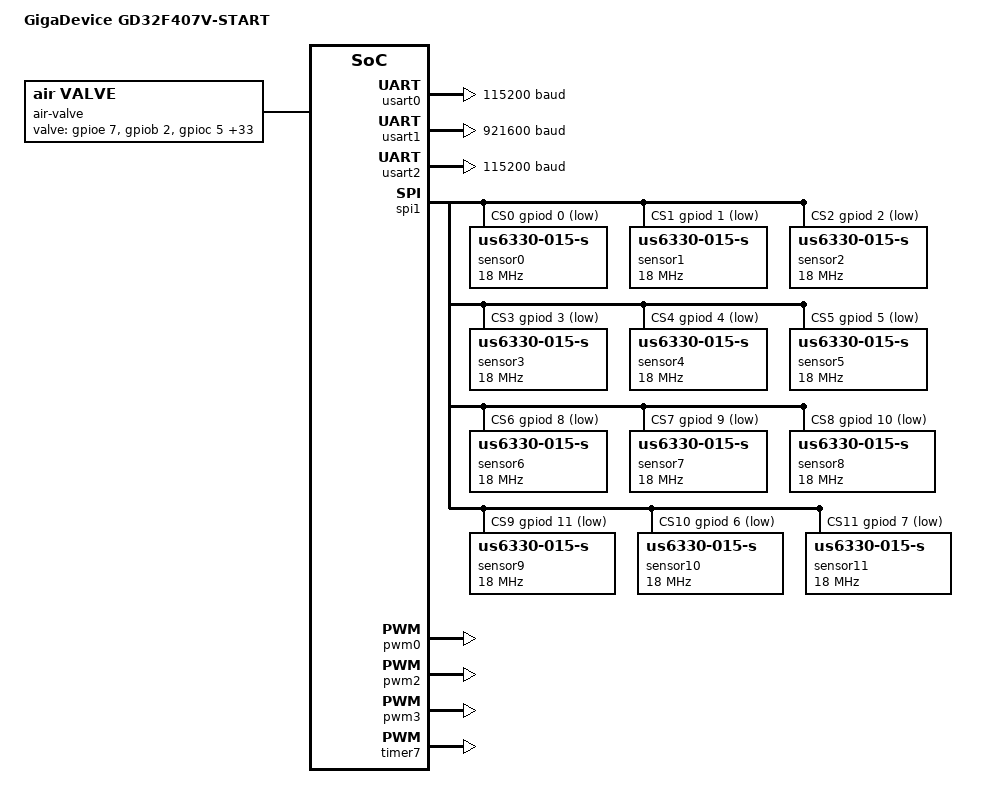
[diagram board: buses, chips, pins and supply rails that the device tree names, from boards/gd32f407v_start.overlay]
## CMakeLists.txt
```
# SPDX-License-Identifier: Apache-2.0

cmake_minimum_required(VERSION 3.20.0)

#set(CMAKE_C_FLAGS "${CMAKE_C_FLAGS} -save-temps=obj")
set(BOARD_ROOT ${CMAKE_CURRENT_LIST_DIR})

find_package(Zephyr REQUIRED HINTS $ENV{ZEPHYR_BASE})
project(pump-control)

target_include_directories(app PRIVATE ${ZEPHYR_BASE}/include/zephyr)

target_include_directories(app PRIVATE src/sensor)
target_include_directories(app PRIVATE src/tach)
target_include_directories(app PRIVATE src/uart_handle)
target_include_directories(app PRIVATE src/shell)
target_include_directories(app PRIVATE src/lib/motor_ctrl)
target_include_directories(app PRIVATE src/lib/pid_ctrl)

FILE(GLOB sensor src/sensor/*.c)
FILE(GLOB tach src/tach/*.c)
FILE(GLOB uart_handle src/uart_handle/*.c)
FILE(GLOB shell src/shell/*.c)
FILE(GLOB lib src/lib/motor_ctrl/*.c src/lib/pid_ctrl/*.c)

target_sources(app PRIVATE ${sensor})
target_sources(app PRIVATE ${tach})
target_sources(app PRIVATE ${uart_handle})
target_sources(app PRIVATE ${shell})
target_sources(app PRIVATE ${lib})
target_sources(app PRIVATE src/main.c)
```

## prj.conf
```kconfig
CONFIG_GPIO=y

CONFIG_PRINTK=y
CONFIG_STDOUT_CONSOLE=y

CONFIG_MAIN_STACK_SIZE=4096

CONFIG_SERIAL=y

CONFIG_SPI=y
CONFIG_SPI_GD32=y

# 支持浮点型打印
CONFIG_CBPRINTF_FP_SUPPORT=y

CONFIG_LOG=y
CONFIG_LOG_MODE_DEFERRED=y
CONFIG_LOG_RUNTIME_FILTERING=y
CONFIG_LOG_BUFFER_SIZE=2048
CONFIG_LOG_PRINTK=y
CONFIG_LOG_PROCESS_TRIGGER_THRESHOLD=0
CONFIG_COVERAGE=n
CONFIG_LOG_TAG_MAX_LEN=8

CONFIG_PWM=y
CONFIG_PWM_GD32=y

CONFIG_PINCTRL=y

CONFIG_SERIAL=y
CONFIG_UART_INTERRUPT_DRIVEN=y

CONFIG_SHELL=y
```

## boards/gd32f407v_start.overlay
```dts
/ {
	model = "GigaDevice GD32F407V-START";
	compatible = "gd,gd32f407v-start";

	chosen {
		zephyr,sram = &sram0;
		zephyr,flash = &flash0;
		zephyr,console = &usart0;
		zephyr,shell-uart = &usart0;
	};
	aliases {
		uart1 = &usart1;
		uart2 = &usart2;
	};
	air-valve {
		compatible = "air,valve";
		valve-gpios = <&gpioe 7  GPIO_ACTIVE_HIGH>,	// valve1
		              <&gpiob 2  GPIO_ACTIVE_HIGH>,	// valve2
					  <&gpioc 5  GPIO_ACTIVE_HIGH>,	
					  <&gpioc 13 GPIO_ACTIVE_HIGH>,
					  <&gpioc 14 GPIO_ACTIVE_HIGH>,
					  <&gpioc 15 GPIO_ACTIVE_HIGH>,
					  <&gpioc 4  GPIO_ACTIVE_HIGH>,	// valve7
					  <&gpioa 5  GPIO_ACTIVE_HIGH>,
					  <&gpioa 4  GPIO_ACTIVE_HIGH>,
					  <&gpioc 0  GPIO_ACTIVE_HIGH>,	// valve10
					  <&gpioc 1  GPIO_ACTIVE_HIGH>,
					  <&gpioc 2  GPIO_ACTIVE_HIGH>,
					  <&gpioe 8  GPIO_ACTIVE_HIGH>,	// valve13
					  <&gpioe 10 GPIO_ACTIVE_HIGH>,
					  <&gpioe 12 GPIO_ACTIVE_HIGH>,
					  <&gpioe 2  GPIO_ACTIVE_HIGH>,	// valve16
					  <&gpioe 3  GPIO_ACTIVE_HIGH>,	
					  <&gpioe 1  GPIO_ACTIVE_HIGH>,
					  <&gpioe 14 GPIO_ACTIVE_HIGH>,
					  <&gpioe 15 GPIO_ACTIVE_HIGH>,	// valve20
					  <&gpiod 15 GPIO_ACTIVE_HIGH>,
					  <&gpioe 0  GPIO_ACTIVE_HIGH>,
					  <&gpiob 5  GPIO_ACTIVE_HIGH>,
					  <&gpioc 12 GPIO_ACTIVE_HIGH>,	// valve24
					  <&gpioe 4  GPIO_ACTIVE_HIGH>,
					  <&gpiod 12 GPIO_ACTIVE_HIGH>,
					  <&gpiod 13 GPIO_ACTIVE_HIGH>,
					  <&gpioc 11 GPIO_ACTIVE_HIGH>,
					  <&gpioc 10 GPIO_ACTIVE_HIGH>,	
					  <&gpioa 12 GPIO_ACTIVE_HIGH>,	// valve30
					  <&gpioe 6  GPIO_ACTIVE_HIGH>,
					  <&gpiod 14 GPIO_ACTIVE_HIGH>,
					  <&gpioe 5  GPIO_ACTIVE_HIGH>,
					  <&gpioa 1  GPIO_ACTIVE_HIGH>,
					  <&gpioa 0  GPIO_ACTIVE_HIGH>,
					  <&gpioc 3  GPIO_ACTIVE_HIGH>;	// valve36
	};
};

&pinctrl {
	usart0_shell: usart0_default {
		group1 {
			pinmux = <USART0_TX_PA9>, <USART0_RX_PA10>;
		};
	};
	usart1_console: usart1_default {
		group1 {
			pinmux = <USART1_TX_PA2>, <USART1_RX_PA3>;
		};
	};
	usart2_tach: usart2_default {
		group1 {
			pinmux = <USART2_TX_PB10>, <USART2_RX_PB11>;
		};
	};
	spi1_default: spi1_default {
		group1 {
			pinmux = <SPI1_MISO_PB14>,
					 <SPI1_MOSI_PB15>,
					 //  <SPI1_NSS_PB12>,
					 <SPI1_SCK_PB13>;
		};
	};
	pwm0_default: pwm0_default {
		group1 {
			pinmux = <TIMER0_CH0_PE9>,
			         <TIMER0_CH1_PE11>,
			         <TIMER0_CH2_PE13>,
			         <TIMER0_CH3_PA11>;
		};
	};
	pwm2_default: pwm2_default {
		group1 {
			pinmux = <TIMER2_CH0_PA6>,
			         <TIMER2_CH1_PA7>,
			         <TIMER2_CH2_PB0>,
			         <TIMER2_CH3_PB1>;
		};
	};
	pwm3_default: pwm3_default {
		group1 {
			pinmux = <TIMER3_CH0_PB6>,
			         <TIMER3_CH1_PB7>,
			         <TIMER3_CH2_PB8>,
			         <TIMER3_CH3_PB9>;
		};
	};
	pwm7_default: pwm7_default {
		group1 {
			pinmux = <TIMER7_CH0_PC6>,    // fan1
			<TIMER7_CH1_PC7>,    // fan2
			<TIMER7_CH2_PC8>;     // servo
		};
	};

};
&usart0 {
	status = "okay";
	current-speed = <115200>;
	pinctrl-0 = <&usart0_shell>;
	pinctrl-names = "default";
};

&usart1 {
	status = "okay";
	current-speed = <921600>;
	pinctrl-0 = <&usart1_console>;
	pinctrl-names = "default";
};

&usart2 {
	status = "okay";
	current-speed = <115200>;
	pinctrl-0 = <&usart2_tach>;
	pinctrl-names = "default";
};

&gpioa {
	status = "okay";
};

&gpiob {
	status = "okay";
};

&gpioc {
	status = "okay";
};

&gpiod {
	status = "okay";
};

&gpioe {
	status = "okay";
};

&spi1 {
	status = "okay";
	pinctrl-0 = <&spi1_default>;
	pinctrl-names = "default";
	cs-gpios = <&gpiod 0 GPIO_ACTIVE_LOW>,
	           <&gpiod 1 GPIO_ACTIVE_LOW>,
	           <&gpiod 2 GPIO_ACTIVE_LOW>,
	           <&gpiod 3 GPIO_ACTIVE_LOW>,
	           <&gpiod 4 GPIO_ACTIVE_LOW>,
	           <&gpiod 5 GPIO_ACTIVE_LOW>,
	           <&gpiod 8 GPIO_ACTIVE_LOW>,
	           <&gpiod 9 GPIO_ACTIVE_LOW>,
	           <&gpiod 10 GPIO_ACTIVE_LOW>,
	           <&gpiod 11 GPIO_ACTIVE_LOW>,
	           <&gpiod 6 GPIO_ACTIVE_LOW>,
	           <&gpiod 7 GPIO_ACTIVE_LOW>;

	sensor0: sensor0@0 {
		status = "okay";
		compatible = "us6330-015-s";
		reg = <0>;
		spi-max-frequency = <18000000>;
	};
	sensor1: sensor1@1 {
		status = "okay";
		compatible = "us6330-015-s";
		reg = <1>;
		spi-max-frequency = <18000000>;
	};
	sensor2: sensor2@2 {
		status = "okay";
		compatible = "us6330-015-s";
		reg = <2>;
		spi-max-frequency = <18000000>;
	};
	sensor3: sensor3@3 {
		status = "okay";
		compatible = "us6330-015-s";
		reg = <3>;
		spi-max-frequency = <18000000>;
	};
	sensor4: sensor4@4 {
		status = "okay";
		compatible = "us6330-015-s";
		reg = <4>;
		spi-max-frequency = <18000000>;
	};
	sensor5: sensor5@5 {
		status = "okay";
		compatible = "us6330-015-s";
		reg = <5>;
		spi-max-frequency = <18000000>;
	};
	sensor6: sensor6@6 {
		status = "okay";
		compatible = "us6330-015-s";
		reg = <6>;
		spi-max-frequency = <18000000>;
	};
	sensor7: sensor7@7 {
		status = "okay";
		compatible = "us6330-015-s";
		reg = <7>;
		spi-max-frequency = <18000000>;
	};
	sensor8: sensor8@8 {
		status = "okay";
		compatible = "us6330-015-s";
		reg = <8>;
		spi-max-frequency = <18000000>;
	};
	sensor9: sensor9@9 {
		status = "okay";
		compatible = "us6330-015-s";
		reg = <9>;
		spi-max-frequency = <18000000>;
	};
	sensor10: sensor10@10 {
		status = "okay";
		compatible = "us6330-015-s";
		reg = <10>;
		spi-max-frequency = <18000000>;
	};
	sensor11: sensor11@11 {
		status = "okay";
		compatible = "us6330-015-s";
		reg = <11>;
		spi-max-frequency = <18000000>;
	};
};


&pwm0 {
	status = "okay";
	pinctrl-0 = <&pwm0_default>;
	pinctrl-names = "default";
};

&pwm2 {
	status = "okay";
	pinctrl-0 = <&pwm2_default>;
	pinctrl-names = "default";
};

&pwm3 {
	status = "okay";
	pinctrl-0 = <&pwm3_default>;
	pinctrl-names = "default";
};

&timer7 {
	status = "okay";
	pwm7: pwm {
		status = "okay";
		pinctrl-0 = <&pwm7_default>;
		pinctrl-names = "default";
	};
};
```

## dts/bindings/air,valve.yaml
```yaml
description: |
    This devive is a air valve Controller.

compatible: "air,valve"

properties:
  valve-gpios:
    type: phandle-array
    required: true
    description: |
      The GPIO connected to the gate driver for the MOSFET.
```

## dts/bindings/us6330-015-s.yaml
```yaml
description: |
    This devie is a air pressure sensor for support spi protocol.

compatible: "us6330-015-s"

include: [spi-device.yaml]
```

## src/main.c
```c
#include <stdio.h>
#include <zephyr/logging/log.h>
#include <zephyr/drivers/pwm.h>
#include <zephyr/kernel.h>
#include <zephyr/device.h>
#include <zephyr/kernel.h>
#include <string.h>
#include <zephyr/sys/printk.h>
#include <zephyr/kernel/thread_stack.h>
#include "sensor.h"
#include "uart_handle.h"
#include "tach.h"

/*	1- error
 *	2- warning
 *	3- info	(default)
 *	4- debug
 */
LOG_MODULE_REGISTER(main, 4);

int main(void)
{
    LOG_INF("Welcome to The Pneumatic Control Device!");
    sensor_init();
    uart_handle_init();
    tach_handle_init();

    return 0;
}
```
